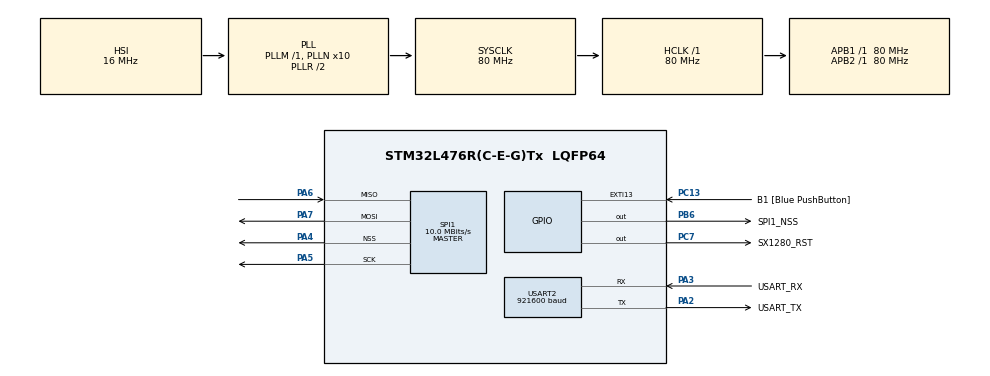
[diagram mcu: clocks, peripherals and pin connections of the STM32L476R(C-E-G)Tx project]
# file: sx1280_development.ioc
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Mcu.Family=STM32L4
Mcu.Name=STM32L476R(C-E-G)Tx
Mcu.Package=LQFP64
NVIC.PriorityGroup=NVIC_PRIORITYGROUP_4
PA13\ (JTMS-SWDIO).GPIO_Label=TMS
PA13\ (JTMS-SWDIO).Mode=Serial_Wire
PA13\ (JTMS-SWDIO).Signal=SYS_JTMS-SWDIO
PA14\ (JTCK-SWCLK).GPIO_Label=TCK
PA14\ (JTCK-SWCLK).Mode=Serial_Wire
PA14\ (JTCK-SWCLK).Signal=SYS_JTCK-SWCLK
PA2.GPIO_Label=USART_TX
PA2.GPIO_Mode=GPIO_MODE_AF_PP
PA2.GPIO_PuPd=GPIO_NOPULL
PA2.GPIO_Speed=GPIO_SPEED_FREQ_VERY_HIGH
PA2.Mode=Asynchronous
PA2.Signal=USART2_TX
PA3.GPIO_Label=USART_RX
PA3.GPIO_Mode=GPIO_MODE_AF_PP
PA3.GPIO_PuPd=GPIO_NOPULL
PA3.GPIO_Speed=GPIO_SPEED_FREQ_VERY_HIGH
PA3.Mode=Asynchronous
PA3.Signal=USART2_RX
PA4.Mode=NSS_Signal_Hard_Output
PA4.Signal=SPI1_NSS
PA5.GPIO_PuPd=GPIO_NOPULL
PA5.Mode=Full_Duplex_Master
PA5.Signal=SPI1_SCK
PA6.GPIO_PuPd=GPIO_NOPULL
PA6.Mode=Full_Duplex_Master
PA6.Signal=SPI1_MISO
PA7.GPIO_PuPd=GPIO_PULLDOWN
PA7.Mode=Full_Duplex_Master
PA7.Signal=SPI1_MOSI
PB3\ (JTDO-TRACESWO).GPIO_Label=SWO
PB3\ (JTDO-TRACESWO).Signal=SYS_JTDO-SWO
PB6.GPIO_Label=SPI1_NSS
PB6.GPIO_PuPd=GPIO_PULLUP
PB6.GPIO_Speed=GPIO_SPEED_FREQ_VERY_HIGH
PB6.PinState=GPIO_PIN_SET
PB6.Signal=GPIO_Output
PC13.GPIO_Label=B1 [Blue PushButton]
PC13.GPIO_ModeDefaultEXTI=GPIO_MODE_IT_FALLING
PC13.GPIO_PuPd=GPIO_NOPULL
PC13.Signal=GPXTI13
PC14-OSC32_IN\ (PC14).Mode=LSE-External-Oscillator
PC14-OSC32_IN\ (PC14).Signal=RCC_OSC32_IN
PC15-OSC32_OUT\ (PC15).Mode=LSE-External-Oscillator
PC15-OSC32_OUT\ (PC15).Signal=RCC_OSC32_OUT
PC7.GPIO_Label=SX1280_RST
PC7.GPIO_PuPd=GPIO_PULLUP
PC7.GPIO_Speed=GPIO_SPEED_FREQ_VERY_HIGH
PC7.PinState=GPIO_PIN_SET
PC7.Signal=GPIO_Output
PH0-OSC_IN\ (PH0).Signal=RCC_OSC_IN
PH1-OSC_OUT\ (PH1).Signal=RCC_OSC_OUT
ProjectManager.HeapSize=0x200
ProjectManager.StackSize=0x400
ProjectManager.TargetToolchain=STM32CubeIDE
RCC.ADCFreq_Value=64000000
RCC.AHBFreq_Value=80000000
RCC.APB1Freq_Value=80000000
RCC.APB1TimFreq_Value=80000000
RCC.APB2Freq_Value=80000000
RCC.APB2TimFreq_Value=80000000
RCC.CortexFreq_Value=80000000
RCC.HCLKFreq_Value=80000000
RCC.HSE_VALUE=8000000
RCC.HSI_VALUE=16000000
RCC.MSI_VALUE=4000000
RCC.PLLN=10
RCC.PLLSourceVirtual=RCC_PLLSOURCE_HSI
RCC.PREFETCH_ENABLE=1
RCC.SYSCLKFreq_VALUE=80000000
RCC.SYSCLKSource=RCC_SYSCLKSOURCE_PLLCLK
RCC.USBFreq_Value=64000000
RCC.VCOOutputFreq_Value=160000000
SPI1.BaudRatePrescaler=SPI_BAUDRATEPRESCALER_8
SPI1.CalculateBaudRate=10.0 MBits/s
SPI1.DataSize=SPI_DATASIZE_8BIT
SPI1.Direction=SPI_DIRECTION_2LINES
SPI1.Mode=SPI_MODE_MASTER
SPI1.NSSPMode=SPI_NSS_PULSE_DISABLE
SPI1.VirtualNSS=VM_NSSHARD
SPI1.VirtualType=VM_MASTER
TIM1.Prescaler=79
USART2.BaudRate=921600
USART2.VirtualMode-Asynchronous=VM_ASYNC
VP_TIM1_VS_ClockSourceINT.Mode=Internal
board=NUCLEO-L476RG

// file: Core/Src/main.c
/* USER CODE BEGIN Header */
/**
  ******************************************************************************
  * @file           : main.c
  * @brief          : Main program body
  ******************************************************************************
  * @attention
  *
  * Copyright (c) 2023 STMicroelectronics.
  * All rights reserved.
  *
  * This software is licensed under terms that can be found in the LICENSE file
  * in the root directory of this software component.
  * If no LICENSE file comes with this software, it is provided AS-IS.
  *
  ******************************************************************************
  */
/* USER CODE END Header */
#include "main.h"

/* USER CODE BEGIN Includes */
#include <stdio.h>
/* USER CODE END Includes */

SPI_HandleTypeDef hspi1;

TIM_HandleTypeDef htim1;

UART_HandleTypeDef huart2;

void SystemClock_Config(void);
static void MX_GPIO_Init(void);
static void MX_USART2_UART_Init(void);
static void MX_SPI1_Init(void);
static void MX_TIM1_Init(void);
/* USER CODE BEGIN PFP */
static void SPI1_TRANSCEIVER_Delay(uint8_t* tx, uint8_t* rx, uint8_t lengh)
{
	HAL_GPIO_WritePin(SPI1_NSS_GPIO_Port, SPI1_NSS_Pin, GPIO_PIN_RESET);

//	for (int i = 0; i < 100; i++);
	HAL_Delay(1);
//	uint16_t temp = __HAL_TIM_GET_COUNTER(&htim1);
//	while (__HAL_TIM_GET_COUNTER(&htim1) - temp < 1000);

	HAL_SPI_TransmitReceive(&hspi1, tx, rx, lengh, 10);
	HAL_GPIO_WritePin(SPI1_NSS_GPIO_Port, SPI1_NSS_Pin, GPIO_PIN_SET);
}

static void SPI1_TRANSCEIVER(uint8_t* tx, uint8_t* rx, uint8_t lengh)
{
	HAL_GPIO_WritePin(SPI1_NSS_GPIO_Port, SPI1_NSS_Pin, GPIO_PIN_RESET);

	for (int i = 0; i < 100; i++);
//	HAL_Delay(1);
//	uint16_t temp = __HAL_TIM_GET_COUNTER(&htim1);
//	while (__HAL_TIM_GET_COUNTER(&htim1) - temp < 1000);

	HAL_SPI_TransmitReceive(&hspi1, tx, rx, lengh, 10);
	HAL_GPIO_WritePin(SPI1_NSS_GPIO_Port, SPI1_NSS_Pin, GPIO_PIN_SET);
}
/* USER CODE END PFP */

int main(void)
{

  /* MCU Configuration--------------------------------------------------------*/

  /* Reset of all peripherals, Initializes the Flash interface and the Systick. */
  HAL_Init();

  /* Configure the system clock */
  SystemClock_Config();

  /* Initialize all configured peripherals */
  MX_GPIO_Init();
  MX_USART2_UART_Init();
  MX_SPI1_Init();
  MX_TIM1_Init();
  /* USER CODE BEGIN 2 */
  HAL_TIM_Base_Start(&htim1);

  char uart_buf[100];
  int uart_buf_len;
  int received;

  uart_buf_len = sprintf(uart_buf, "SX1280 RX bit rate test\r\n");
  HAL_UART_Transmit(&huart2, (uint8_t *)uart_buf, uart_buf_len, 100);
  //===========================================
  //===========================================
  //===========================================

  uint8_t tx[10] = {};
  uint8_t rx[10] = {};

  // reset
  HAL_GPIO_WritePin(SX1280_RST_GPIO_Port, SX1280_RST_Pin, GPIO_PIN_SET);
  HAL_Delay(100);
  HAL_GPIO_WritePin(SX1280_RST_GPIO_Port, SX1280_RST_Pin, GPIO_PIN_RESET);
  HAL_Delay(100);
  HAL_GPIO_WritePin(SX1280_RST_GPIO_Port, SX1280_RST_Pin, GPIO_PIN_SET);

  //===========================================
  // common transceiver setting for LoRa
  //===========================================

  // setstandby(stdby_xosc)
  *(uint32_t*)tx = 0x80 | 0x01 << 8;
  SPI1_TRANSCEIVER_Delay(tx, rx, 2);

  // setpackettype(packet_type_lora)
  *(uint32_t*)tx = 0x8A | 0x01 << 8; // LoRa mode
  SPI1_TRANSCEIVER_Delay(tx, rx, 2);
  if (rx[0] != 0x65 && rx[0]!=0x64 && rx[0]!=0x54) {
	  uart_buf_len = sprintf(uart_buf, "Error with state %X\r\n", rx[0]);
	  HAL_UART_Transmit(&huart2, (uint8_t *)uart_buf, uart_buf_len, 100);
	  Error_Handler();
  }

  // setrffrequency(rfFrequency)
  *(uint32_t*)tx = 0x86 | 0xB8 << 8 | 0x9D << 16 | 0x89 << 24;
  SPI1_TRANSCEIVER(tx, rx, 4);

  // setbufferbaseaddress()
  *(uint32_t*)tx = 0x8F | 0x80 << 8 | 0x00 << 16;
  SPI1_TRANSCEIVER(tx, rx, 3);

  // setmodulationparams(modparam1, modparam2, modparam3)
  *(uint32_t*)tx = 0x8B | 0x70 << 8 | 0x18 << 16 | 0x01 << 24;
  SPI1_TRANSCEIVER(tx, rx, 4);

  // setpacketparams(pktparam1, pktparam2, pktparam3, pktparam4, pktparam5)
  *(uint32_t*)tx = 0x8C | 0x0C << 8 | 0x80 << 16 | 0x08 << 24;
  *(uint32_t*)(tx+4) = 0x20 | 0x40 << 8 | 0x00 << 16 | 0x00 << 24;
  SPI1_TRANSCEIVER(tx, rx, 8);

  //   //===========================================
  //   // Tx Setting and Operations
  //   //===========================================
  //
  //   // SetTxParams(power, rampTime)
  //   *(uint32_t*)tx = 0x8E | 0x1F << 8 | 0xE0 << 16 | 0x01 << 24;
  //   SPI1_TRANSCEIVER(tx, rx, 4);
  //
  //   // WriteBuffer(offset, *data)
  //   *(uint32_t*)tx = 0x1A | 0x80 << 8 | 0x05 << 16 | 0x04 << 24;
  //   *(uint32_t*)(tx+4) = 0x08 | 0x07 << 8;
  //   SPI1_TRANSCEIVER(tx, rx, 6);
  //
  //   // SetDioIrqParams(irqMask, dio1Mask, dio2Mask, dio3Mask)
  //   *(uint32_t*)tx = 0x8D | 0x40 << 8 | 0x23 << 16 | 0x00 << 24;
  //   *(uint32_t*)(tx+4) = 0x01 | 0x00 << 8 | 0x02 << 16 | 0x40 << 24;
  //   *(uint32_t*)(tx+8) = 0x20;
  //   SPI1_TRANSCEIVER(tx, rx, 9);
  //
  //   // SetTx(periodBase, periodBaseCount, '')
  //   *(uint32_t*)tx = 0x83 | 0x00 << 8 | 0x00 << 16 | 0x00 << 24;
  //   SPI1_TRANSCEIVER(tx, rx, 4);
  //
  //   // get irq status
  //   *(uint32_t*)tx = 0x15 | 0x00 << 8 | 0x00 << 16 | 0x00 << 24;
  //   SPI1_TRANSCEIVER(tx, rx, 4);

    //===========================================
    // Rx Setting and Operations
    //===========================================

    // SetDioIrqParams(irqMask, dio1Mask, dio2Mask, dio3Mask)
    *(uint32_t*)tx = 0x8D | 0x40 << 8 | 0x23 << 16 | 0x00 << 24;
    *(uint32_t*)(tx+4) = 0x01 | 0x00 << 8 | 0x02 << 16 | 0x40 << 24;
    *(uint32_t*)(tx+8) = 0x20;
    SPI1_TRANSCEIVER(tx, rx, 9);

    // SetRx(periodBase, periodBaseCount[15:8], periodBaseCount[7:0])
    *(uint32_t*)tx = 0x82 | 0x00 << 8 | 0x00 << 16 | 0x00 << 24;
    SPI1_TRANSCEIVER(tx, rx, 4);

    // WaitIrq
    while(1)
    {
    	int temp = HAL_GetTick();
  	   *(uint32_t*)tx = 0x15 | 0x00 << 8 | 0x00 << 16 | 0x00 << 24;
  	   SPI1_TRANSCEIVER(tx, rx, 4);
  	   if(rx[3] & 0x02) break;
  	   if(HAL_GetTick() - temp > 3) break;
    }

    // GetPacketStatus()
    *(uint32_t*)tx = 0x1D | 0x00 << 8 | 0x00 << 16 | 0x00 << 24;
    *(uint32_t*)(tx+4) = 0x00 | 0x00 << 8 | 0x00 << 16;
    SPI1_TRANSCEIVER(tx, rx, 7);

    // ClrIrqStatus(irqMask)
    *(uint32_t*)tx = 0x97 | 0xFF << 8 | 0xFF << 16;
    SPI1_TRANSCEIVER(tx, rx, 3);

    // GetRxBufferStatus()
    *(uint32_t*)tx = 0x17 | 0x00 << 8 | 0x00 << 16 | 0x00 << 24;
    SPI1_TRANSCEIVER(tx, rx, 4);

    // ReadBuffer(offset, payloadLengthRx)
	 *(uint32_t*)tx = 0x1B | 0x00 << 8 | 0x00 << 16 | 0x00 << 24;
	 *(uint32_t*)(tx+4) = 0x00 | 0x00 << 8 | 0x00 << 16 | 0x00 << 24;
	 *(uint32_t*)(tx+8) = 0x00 | 0x00 << 8 | 0x00 << 16 | 0x00 << 24;
	 SPI1_TRANSCEIVER(tx, rx, 11);

	 received = *(int*) (rx+3);
//	 uart_buf_len = sprintf(uart_buf, "received: %05d\r\n", received);
//	 HAL_UART_Transmit(&huart2, (uint8_t *)uart_buf, uart_buf_len, 100);

    // FrequencyError[Hz]

    //===========================================
    //===========================================
    //===========================================

  /* USER CODE END 2 */

  /* Infinite loop */
  /* USER CODE BEGIN WHILE */
   int time_temp = HAL_GetTick();
   uint8_t received_arr[100] = {0};
   int pre_get = 0;
   uint8_t sum;
   float bps;
   uart_buf_len = sprintf(uart_buf, "SX1280 RX bit rate test\r\n");
   HAL_UART_Transmit(&huart2, (uint8_t *)uart_buf, uart_buf_len, 100);
   while (1)
   {
	      // WriteBuffer(offset, *data)
	      *(uint32_t*)tx = 0x1A | 0x00 << 8 | 0x00 << 16 | 0x00 << 24;
	      *(uint32_t*)(tx+4) = 0x00000000;
	      SPI1_TRANSCEIVER(tx, rx, 8);
	      // SetRx(periodBase, periodBaseCount[15:8], periodBaseCount[7:0])
  	     *(uint32_t*)tx = 0x82 | 0x00 << 8 | 0x00 << 16 | 0x00 << 24;
  	     SPI1_TRANSCEIVER(tx, rx, 4);

  	     // WaitIrq
  	     while(1)
  	     {
  	  	   *(uint32_t*)tx = 0x15 | 0x00 << 8 | 0x00 << 16 | 0x00 << 24;
  	  	   SPI1_TRANSCEIVER(tx, rx, 4);
  	  	   if(rx[3] & 0x02) break;
  	     }

  	     // GetPacketStatus()
  	     *(uint32_t*)tx = 0x1D | 0x00 << 8 | 0x00 << 16 | 0x00 << 24;
  	     *(uint32_t*)(tx+4) = 0x00 | 0x00 << 8 | 0x00 << 16;
  	     SPI1_TRANSCEIVER(tx, rx, 7);

  	     // ClrIrqStatus(irqMask)
  	     *(uint32_t*)tx = 0x97 | 0xFF << 8 | 0xFF << 16;
  	     SPI1_TRANSCEIVER(tx, rx, 3);

  	    *(uint32_t*)tx = 0x15 | 0x00 << 8 | 0x00 << 16 | 0x00 << 24;
  	     SPI1_TRANSCEIVER(tx, rx, 4);

  	     // GetRxBufferStatus()
  	     *(uint32_t*)tx = 0x17 | 0x00 << 8 | 0x00 << 16 | 0x00 << 24;
  	     SPI1_TRANSCEIVER(tx, rx, 4);

  	     // ReadBuffer(offset, payloadLengthRx)
  	     *(uint32_t*)tx = 0x1B | 0x00 << 8 | 0x00 << 16 | 0x00 << 24;
  	     *(uint32_t*)(tx+4) = 0x00 | 0x00 << 8 | 0x00 << 16 | 0x00 << 24;
  	     *(uint32_t*)(tx+8) = 0x00 | 0x00 << 8 | 0x00 << 16 | 0x00 << 24;
  	     SPI1_TRANSCEIVER(tx, rx, 11);

  		 received = *(int*) (rx+3);
//  		 uart_buf_len = sprintf(uart_buf, "received: %05d\r\n", received);
//  		 HAL_UART_Transmit(&huart2, (uint8_t *)uart_buf, uart_buf_len, 100);

  	     // FrequencyError[Hz]
  		 if(received < 100 && received >= 0) // valid
  		 {
  			if(pre_get > received)
  			{
  				time_temp = HAL_GetTick() - time_temp;
  				sum = 0;
  				for(int i = 0; i < 100; i++)
  				{
  					if(received_arr[i] == 1)
  					{
  						sum ++;
  					}
  				}
  				bps = sum*8*8*1000./time_temp;
  				uart_buf_len = sprintf(uart_buf, "Bit Rate: %15.5f bps, sum: %03d\r\n", bps, sum);
  				HAL_UART_Transmit(&huart2, (uint8_t *)uart_buf, uart_buf_len, 100);

  				// end
				for(int i = 0; i < 100; i++)
				{
					received_arr[i] = 0;
				}
				time_temp = HAL_GetTick();
  			}
  			pre_get = received;
  			received_arr[received] = 1;
  		 }

    /* USER CODE END WHILE */

   }
}

void SystemClock_Config(void)
{
  RCC_OscInitTypeDef RCC_OscInitStruct = {0};
  RCC_ClkInitTypeDef RCC_ClkInitStruct = {0};

  /** Configure the main internal regulator output voltage
  */
  if (HAL_PWREx_ControlVoltageScaling(PWR_REGULATOR_VOLTAGE_SCALE1) != HAL_OK)
  {
    Error_Handler();
  }

  /** Initializes the RCC Oscillators according to the specified parameters
  * in the RCC_OscInitTypeDef structure.
  */
  RCC_OscInitStruct.OscillatorType = RCC_OSCILLATORTYPE_HSI;
  RCC_OscInitStruct.HSIState = RCC_HSI_ON;
  RCC_OscInitStruct.HSICalibrationValue = RCC_HSICALIBRATION_DEFAULT;
  RCC_OscInitStruct.PLL.PLLState = RCC_PLL_ON;
  RCC_OscInitStruct.PLL.PLLSource = RCC_PLLSOURCE_HSI;
  RCC_OscInitStruct.PLL.PLLM = 1;
  RCC_OscInitStruct.PLL.PLLN = 10;
  RCC_OscInitStruct.PLL.PLLP = RCC_PLLP_DIV7;
  RCC_OscInitStruct.PLL.PLLQ = RCC_PLLQ_DIV2;
  RCC_OscInitStruct.PLL.PLLR = RCC_PLLR_DIV2;
  if (HAL_RCC_OscConfig(&RCC_OscInitStruct) != HAL_OK)
  {
    Error_Handler();
  }

  /** Initializes the CPU, AHB and APB buses clocks
  */
  RCC_ClkInitStruct.ClockType = RCC_CLOCKTYPE_HCLK|RCC_CLOCKTYPE_SYSCLK
                              |RCC_CLOCKTYPE_PCLK1|RCC_CLOCKTYPE_PCLK2;
  RCC_ClkInitStruct.SYSCLKSource = RCC_SYSCLKSOURCE_PLLCLK;
  RCC_ClkInitStruct.AHBCLKDivider = RCC_SYSCLK_DIV1;
  RCC_ClkInitStruct.APB1CLKDivider = RCC_HCLK_DIV1;
  RCC_ClkInitStruct.APB2CLKDivider = RCC_HCLK_DIV1;

  if (HAL_RCC_ClockConfig(&RCC_ClkInitStruct, FLASH_LATENCY_4) != HAL_OK)
  {
    Error_Handler();
  }
}

static void MX_SPI1_Init(void)
{

  /* SPI1 parameter configuration*/
  hspi1.Instance = SPI1;
  hspi1.Init.Mode = SPI_MODE_MASTER;
  hspi1.Init.Direction = SPI_DIRECTION_2LINES;
  hspi1.Init.DataSize = SPI_DATASIZE_8BIT;
  hspi1.Init.CLKPolarity = SPI_POLARITY_LOW;
  hspi1.Init.CLKPhase = SPI_PHASE_1EDGE;
  hspi1.Init.NSS = SPI_NSS_HARD_OUTPUT;
  hspi1.Init.BaudRatePrescaler = SPI_BAUDRATEPRESCALER_8;
  hspi1.Init.FirstBit = SPI_FIRSTBIT_MSB;
  hspi1.Init.TIMode = SPI_TIMODE_DISABLE;
  hspi1.Init.CRCCalculation = SPI_CRCCALCULATION_DISABLE;
  hspi1.Init.CRCPolynomial = 7;
  hspi1.Init.CRCLength = SPI_CRC_LENGTH_DATASIZE;
  hspi1.Init.NSSPMode = SPI_NSS_PULSE_DISABLE;
  if (HAL_SPI_Init(&hspi1) != HAL_OK)
  {
    Error_Handler();
  }

}

static void MX_TIM1_Init(void)
{

  TIM_ClockConfigTypeDef sClockSourceConfig = {0};
  TIM_MasterConfigTypeDef sMasterConfig = {0};

  htim1.Instance = TIM1;
  htim1.Init.Prescaler = 79;
  htim1.Init.CounterMode = TIM_COUNTERMODE_UP;
  htim1.Init.Period = 65535;
  htim1.Init.ClockDivision = TIM_CLOCKDIVISION_DIV1;
  htim1.Init.RepetitionCounter = 0;
  htim1.Init.AutoReloadPreload = TIM_AUTORELOAD_PRELOAD_DISABLE;
  if (HAL_TIM_Base_Init(&htim1) != HAL_OK)
  {
    Error_Handler();
  }
  sClockSourceConfig.ClockSource = TIM_CLOCKSOURCE_INTERNAL;
  if (HAL_TIM_ConfigClockSource(&htim1, &sClockSourceConfig) != HAL_OK)
  {
    Error_Handler();
  }
  sMasterConfig.MasterOutputTrigger = TIM_TRGO_RESET;
  sMasterConfig.MasterOutputTrigger2 = TIM_TRGO2_RESET;
  sMasterConfig.MasterSlaveMode = TIM_MASTERSLAVEMODE_DISABLE;
  if (HAL_TIMEx_MasterConfigSynchronization(&htim1, &sMasterConfig) != HAL_OK)
  {
    Error_Handler();
  }

}

static void MX_USART2_UART_Init(void)
{

  huart2.Instance = USART2;
  huart2.Init.BaudRate = 921600;
  huart2.Init.WordLength = UART_WORDLENGTH_8B;
  huart2.Init.StopBits = UART_STOPBITS_1;
  huart2.Init.Parity = UART_PARITY_NONE;
  huart2.Init.Mode = UART_MODE_TX_RX;
  huart2.Init.HwFlowCtl = UART_HWCONTROL_NONE;
  huart2.Init.OverSampling = UART_OVERSAMPLING_16;
  huart2.Init.OneBitSampling = UART_ONE_BIT_SAMPLE_DISABLE;
  huart2.AdvancedInit.AdvFeatureInit = UART_ADVFEATURE_NO_INIT;
  if (HAL_UART_Init(&huart2) != HAL_OK)
  {
    Error_Handler();
  }

}

static void MX_GPIO_Init(void)
{
  GPIO_InitTypeDef GPIO_InitStruct = {0};

  /* GPIO Ports Clock Enable */
  __HAL_RCC_GPIOC_CLK_ENABLE();
  __HAL_RCC_GPIOH_CLK_ENABLE();
  __HAL_RCC_GPIOA_CLK_ENABLE();
  __HAL_RCC_GPIOB_CLK_ENABLE();

  /*Configure GPIO pin Output Level */
  HAL_GPIO_WritePin(SX1280_RST_GPIO_Port, SX1280_RST_Pin, GPIO_PIN_SET);

  /*Configure GPIO pin Output Level */
  HAL_GPIO_WritePin(SPI1_NSS_GPIO_Port, SPI1_NSS_Pin, GPIO_PIN_SET);

  /*Configure GPIO pin : B1_Pin */
  GPIO_InitStruct.Pin = B1_Pin;
  GPIO_InitStruct.Mode = GPIO_MODE_IT_FALLING;
  GPIO_InitStruct.Pull = GPIO_NOPULL;
  HAL_GPIO_Init(B1_GPIO_Port, &GPIO_InitStruct);

  /*Configure GPIO pin : SX1280_RST_Pin */
  GPIO_InitStruct.Pin = SX1280_RST_Pin;
  GPIO_InitStruct.Mode = GPIO_MODE_OUTPUT_PP;
  GPIO_InitStruct.Pull = GPIO_PULLUP;
  GPIO_InitStruct.Speed = GPIO_SPEED_FREQ_VERY_HIGH;
  HAL_GPIO_Init(SX1280_RST_GPIO_Port, &GPIO_InitStruct);

  /*Configure GPIO pin : SPI1_NSS_Pin */
  GPIO_InitStruct.Pin = SPI1_NSS_Pin;
  GPIO_InitStruct.Mode = GPIO_MODE_OUTPUT_PP;
  GPIO_InitStruct.Pull = GPIO_PULLUP;
  GPIO_InitStruct.Speed = GPIO_SPEED_FREQ_VERY_HIGH;
  HAL_GPIO_Init(SPI1_NSS_GPIO_Port, &GPIO_InitStruct);

}

void Error_Handler(void)
{
  /* USER CODE BEGIN Error_Handler_Debug */
  /* User can add his own implementation to report the HAL error return state */
  __disable_irq();
  while (1)
  {
//	  HAL_UART_Transmit(&huart2, "error\r\n", 7, 100);
  }
  /* USER CODE END Error_Handler_Debug */
}
